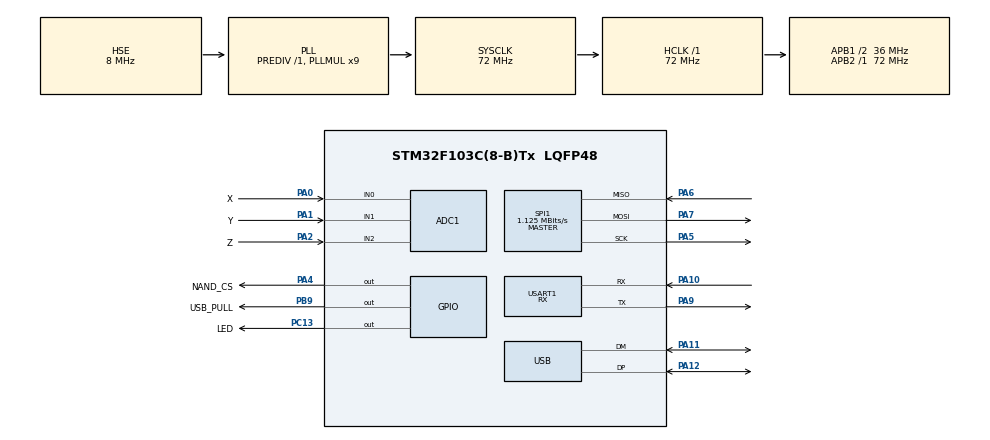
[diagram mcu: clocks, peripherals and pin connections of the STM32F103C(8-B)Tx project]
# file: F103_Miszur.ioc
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ADC1.Channel-0\#ChannelRegularConversion=ADC_CHANNEL_0
ADC1.Channel-1\#ChannelRegularConversion=ADC_CHANNEL_1
ADC1.Channel-2\#ChannelRegularConversion=ADC_CHANNEL_2
ADC1.ContinuousConvMode=ENABLE
ADC1.NbrOfConversion=3
ADC1.NbrOfConversionFlag=1
ADC1.Rank-0\#ChannelRegularConversion=1
ADC1.Rank-1\#ChannelRegularConversion=2
ADC1.Rank-2\#ChannelRegularConversion=3
ADC1.SamplingTime-0\#ChannelRegularConversion=ADC_SAMPLETIME_71CYCLES_5
ADC1.SamplingTime-1\#ChannelRegularConversion=ADC_SAMPLETIME_71CYCLES_5
ADC1.SamplingTime-2\#ChannelRegularConversion=ADC_SAMPLETIME_71CYCLES_5
ADC1.master=1
Dma.ADC1.0.Direction=DMA_PERIPH_TO_MEMORY
Dma.ADC1.0.Instance=DMA1_Channel1
Dma.ADC1.0.MemDataAlignment=DMA_MDATAALIGN_HALFWORD
Dma.ADC1.0.MemInc=DMA_MINC_ENABLE
Dma.ADC1.0.Mode=DMA_CIRCULAR
Dma.ADC1.0.PeriphDataAlignment=DMA_PDATAALIGN_HALFWORD
Dma.ADC1.0.PeriphInc=DMA_PINC_DISABLE
Dma.ADC1.0.Priority=DMA_PRIORITY_MEDIUM
Dma.Request0=ADC1
Mcu.Family=STM32F1
Mcu.Name=STM32F103C(8-B)Tx
Mcu.Package=LQFP48
NVIC.ADC1_2_IRQn=true\:1\:0\:true\:false\:true\:true\:true\:true
NVIC.DMA1_Channel1_IRQn=true\:0\:0\:false\:false\:true\:false\:true\:true
NVIC.PriorityGroup=NVIC_PRIORITYGROUP_4
NVIC.SPI1_IRQn=true\:0\:0\:false\:false\:true\:true\:true\:true
NVIC.TIM2_IRQn=true\:0\:0\:false\:false\:true\:true\:true\:true
NVIC.USART1_IRQn=true\:0\:0\:false\:false\:true\:true\:true\:true
NVIC.USB_HP_CAN1_TX_IRQn=true\:0\:0\:false\:false\:true\:true\:true\:true
NVIC.USB_LP_CAN1_RX0_IRQn=true\:0\:0\:false\:false\:true\:true\:true\:true
PA0-WKUP.GPIO_Label=X
PA0-WKUP.Signal=SharedAnalog_PA0
PA1.GPIO_Label=Y
PA1.Signal=SharedAnalog_PA1
PA10.Mode=Asynchronous
PA10.Signal=USART1_RX
PA11.Mode=Device
PA11.Signal=USB_DM
PA12.Mode=Device
PA12.Signal=USB_DP
PA13.Mode=Serial_Wire
PA13.Signal=SYS_JTMS-SWDIO
PA14.Mode=Serial_Wire
PA14.Signal=SYS_JTCK-SWCLK
PA2.GPIO_Label=Z
PA2.Signal=SharedAnalog_PA2
PA4.GPIO_Label=NAND_CS
PA4.GPIO_Speed=GPIO_SPEED_FREQ_MEDIUM
PA4.Signal=GPIO_Output
PA5.Mode=Full_Duplex_Master
PA5.Signal=SPI1_SCK
PA6.Mode=Full_Duplex_Master
PA6.Signal=SPI1_MISO
PA7.Mode=Full_Duplex_Master
PA7.Signal=SPI1_MOSI
PA9.Mode=Asynchronous
PA9.Signal=USART1_TX
PB9.GPIO_Label=USB_PULL
PB9.Signal=GPIO_Output
PC13-TAMPER-RTC.GPIO_Label=LED
PC13-TAMPER-RTC.PinState=GPIO_PIN_SET
PC13-TAMPER-RTC.Signal=GPIO_Output
PD0-OSC_IN.Mode=HSE-External-Oscillator
PD0-OSC_IN.Signal=RCC_OSC_IN
PD1-OSC_OUT.Mode=HSE-External-Oscillator
PD1-OSC_OUT.Signal=RCC_OSC_OUT
ProjectManager.HeapSize=0x200
ProjectManager.StackSize=0x400
ProjectManager.TargetToolchain=STM32CubeIDE
RCC.ADCPresc=RCC_ADCPCLK2_DIV6
RCC.AHBFreq_Value=72000000
RCC.APB1CLKDivider=RCC_HCLK_DIV2
RCC.APB1Freq_Value=36000000
RCC.APB1TimFreq_Value=72000000
RCC.APB2Freq_Value=72000000
RCC.APB2TimFreq_Value=72000000
RCC.HCLKFreq_Value=72000000
RCC.PLLMUL=RCC_PLL_MUL9
RCC.SYSCLKFreq_VALUE=72000000
RCC.SYSCLKSource=RCC_SYSCLKSOURCE_PLLCLK
RCC.USBFreq_Value=48000000
RCC.USBPrescaler=RCC_USBCLKSOURCE_PLL_DIV1_5
SH.SharedAnalog_PA0.0=GPIO_Analog
SH.SharedAnalog_PA0.1=ADC1_IN0,IN0
SH.SharedAnalog_PA1.0=GPIO_Analog
SH.SharedAnalog_PA1.1=ADC1_IN1,IN1
SH.SharedAnalog_PA2.0=GPIO_Analog
SH.SharedAnalog_PA2.1=ADC1_IN2,IN2
SPI1.BaudRatePrescaler=SPI_BAUDRATEPRESCALER_64
SPI1.CalculateBaudRate=1.125 MBits/s
SPI1.Direction=SPI_DIRECTION_2LINES
SPI1.Mode=SPI_MODE_MASTER
SPI1.VirtualType=VM_MASTER
TIM2.AutoReloadPreload=TIM_AUTORELOAD_PRELOAD_ENABLE
TIM2.Period=500
TIM2.Prescaler=35
USART1.Mode=MODE_RX
USART1.VirtualMode=VM_ASYNC
USB.low_power_enable=DISABLE
USB_DEVICE.CLASS_NAME_FS=CDC
USB_DEVICE.USBD_DEBUG_LEVEL=1
USB_DEVICE.VirtualMode=Cdc
USB_DEVICE.VirtualModeFS=Cdc_FS
VP_TIM2_VS_ClockSourceINT.Mode=Internal
VP_USB_DEVICE_VS_USB_DEVICE_CDC_FS.Mode=CDC_FS
board=custom

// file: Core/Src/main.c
/* USER CODE BEGIN Header */
/**
  ******************************************************************************
  * @file           : main.c
  * @brief          : Main program body
  ******************************************************************************
  * @attention
  *
  * Copyright (c) 2024 STMicroelectronics.
  * All rights reserved.
  *
  * This software is licensed under terms that can be found in the LICENSE file
  * in the root directory of this software component.
  * If no LICENSE file comes with this software, it is provided AS-IS.
  *
  ******************************************************************************
  */
/* USER CODE END Header */
#include "main.h"
#include "adc.h"
#include "dma.h"
#include "spi.h"
#include "tim.h"
#include "usart.h"
#include "usb_device.h"
#include "gpio.h"

/* USER CODE BEGIN Includes */

#include "Functions.h"
#include "W25N01G.h"
#include "usbd_cdc_if.h"

/* USER CODE END Includes */

/* USER CODE BEGIN PV */

Frame frames[QUE_SIZE];
uint32_t latency, tempDotOneMs;

/* USER CODE END PV */

void SystemClock_Config(void);

int main(void)
{

  /* MCU Configuration--------------------------------------------------------*/

  /* Reset of all peripherals, Initializes the Flash interface and the Systick. */
  HAL_Init();

  /* Configure the system clock */
  SystemClock_Config();

  /* Initialize all configured peripherals */
  MX_GPIO_Init();
  MX_DMA_Init();
  MX_ADC1_Init();
  MX_SPI1_Init();
  MX_USART1_UART_Init();
  MX_USB_DEVICE_Init();
  MX_TIM2_Init();
  /* USER CODE BEGIN 2 */

  	// Init Everything in MCU:
	HAL_Delay(900);
	HAL_TIM_Base_Init(&htim2);
	HAL_TIM_Base_MspInit(&htim2);
	HAL_TIM_Base_Start_IT(&htim2);
	HAL_UART_Receive_IT(&huart1, &rocketState, 1);

	rocketState = 0;

	// Init Flash:
	uint8_t ret = 1;
	while(ret) {
	  ret = flashBegin();
	  HAL_GPIO_WritePin(LED_GPIO_Port, LED_Pin, !ret);
	  HAL_Delay(1000);
	}

	HAL_Delay(3000);
	uint8_t flashBuf[BUF_SIZE];
	HAL_ADC_Start_DMA(&hadc1, (uint32_t*) adctest, ADC_NO);

  /* USER CODE END 2 */

  /* Infinite loop */
  /* USER CODE BEGIN WHILE */
  while (1)
  {
	  if (rocketState < 6) {

		  HAL_ADC_Stop_DMA(&hadc1);
		  HAL_TIM_Base_Stop_IT(&htim2);

		  for (uint8_t i = 0; i < 3; i++) {

			  HAL_GPIO_WritePin(LED_GPIO_Port, LED_Pin, 0);
			  HAL_Delay(250);
			  HAL_GPIO_WritePin(LED_GPIO_Port, LED_Pin, 1);
			  HAL_Delay(500);
		  }
		  HAL_GPIO_WritePin(USB_PULL_GPIO_Port, USB_PULL_Pin, 0);

		  // Here USB read:
		  while (!txRequest) HAL_Delay(1);

		  // SLOT A read:
		  //char slot_info[] = "SLOT_A";
		  //CDC_Transmit_FS((uint8_t*) slot_info, strlen(slot_info));

		  int8_t tries = 10;
		  for (uint16_t j = 0; j < SLOT_PAGE_NUMBER; j++) {

			  pageDataRead(j);
			  read(0, flashBuf, BUF_SIZE);

			  _Bool empty = 1;
			  for (uint16_t i = 0; i < 2048; i++) {
				  if (flashBuf[i] != 255) empty = 0;
			  }
			  if (empty) {
				  tries--;
				  if (tries <= 0) break;
			  }
			  else {
				  CDC_Transmit_FS(flashBuf, sizeof(Frame));
				  tries = 10;
			  }
			  HAL_Delay(1);
		  }
	  }

	  if (rocketState >= 6) {

		  // Flash slot erase (only in state 6):
		  if (rocketState == 6) {

			  HAL_GPIO_WritePin(LED_GPIO_Port, LED_Pin, 0);
			  for (uint16_t j = 0; j < SLOT_PAGE_NUMBER; j += PAGES_IN_BLOCK) {

				  blockErase(j);
			  }

			  HAL_GPIO_WritePin(LED_GPIO_Port, LED_Pin, 1);
			  HAL_Delay(1000);
		  }

		  // Save start:
		  for (uint16_t j = 0; j < SLOT_PAGE_NUMBER; j++) {

			  tempDotOneMs = dotOneMsTime;
			  for (uint16_t i = 0; i < QUE_SIZE; i ++) {

				  doMeasurements(&frames[i]);
			  }
			  latency = dotOneMsTime - tempDotOneMs;

			  for (uint16_t i = 0; i < QUE_SIZE; i++) {

				  HAL_GPIO_WritePin(LED_GPIO_Port, LED_Pin, 0);
				  CDC_Transmit_FS((uint8_t*) &frames[i], sizeof(Frame));
				  loadProgData(0, (uint8_t*) &frames[i], sizeof(Frame));
				  ProgramExecute(j);
				  HAL_GPIO_WritePin(LED_GPIO_Port, LED_Pin, 1);
			  }
		  }
	  }

	  while (1) { HAL_GPIO_WritePin(LED_GPIO_Port, LED_Pin, 0); }
    /* USER CODE END WHILE */

  }
}

void SystemClock_Config(void)
{
  RCC_OscInitTypeDef RCC_OscInitStruct = {0};
  RCC_ClkInitTypeDef RCC_ClkInitStruct = {0};
  RCC_PeriphCLKInitTypeDef PeriphClkInit = {0};

  /** Initializes the RCC Oscillators according to the specified parameters
  * in the RCC_OscInitTypeDef structure.
  */
  RCC_OscInitStruct.OscillatorType = RCC_OSCILLATORTYPE_HSE;
  RCC_OscInitStruct.HSEState = RCC_HSE_ON;
  RCC_OscInitStruct.HSEPredivValue = RCC_HSE_PREDIV_DIV1;
  RCC_OscInitStruct.HSIState = RCC_HSI_ON;
  RCC_OscInitStruct.PLL.PLLState = RCC_PLL_ON;
  RCC_OscInitStruct.PLL.PLLSource = RCC_PLLSOURCE_HSE;
  RCC_OscInitStruct.PLL.PLLMUL = RCC_PLL_MUL9;
  if (HAL_RCC_OscConfig(&RCC_OscInitStruct) != HAL_OK)
  {
    Error_Handler();
  }

  /** Initializes the CPU, AHB and APB buses clocks
  */
  RCC_ClkInitStruct.ClockType = RCC_CLOCKTYPE_HCLK|RCC_CLOCKTYPE_SYSCLK
                              |RCC_CLOCKTYPE_PCLK1|RCC_CLOCKTYPE_PCLK2;
  RCC_ClkInitStruct.SYSCLKSource = RCC_SYSCLKSOURCE_PLLCLK;
  RCC_ClkInitStruct.AHBCLKDivider = RCC_SYSCLK_DIV1;
  RCC_ClkInitStruct.APB1CLKDivider = RCC_HCLK_DIV2;
  RCC_ClkInitStruct.APB2CLKDivider = RCC_HCLK_DIV1;

  if (HAL_RCC_ClockConfig(&RCC_ClkInitStruct, FLASH_LATENCY_2) != HAL_OK)
  {
    Error_Handler();
  }
  PeriphClkInit.PeriphClockSelection = RCC_PERIPHCLK_ADC|RCC_PERIPHCLK_USB;
  PeriphClkInit.AdcClockSelection = RCC_ADCPCLK2_DIV6;
  PeriphClkInit.UsbClockSelection = RCC_USBCLKSOURCE_PLL_DIV1_5;
  if (HAL_RCCEx_PeriphCLKConfig(&PeriphClkInit) != HAL_OK)
  {
    Error_Handler();
  }
}

void Error_Handler(void)
{
  __disable_irq();
  while (1)
  {
  }
}
